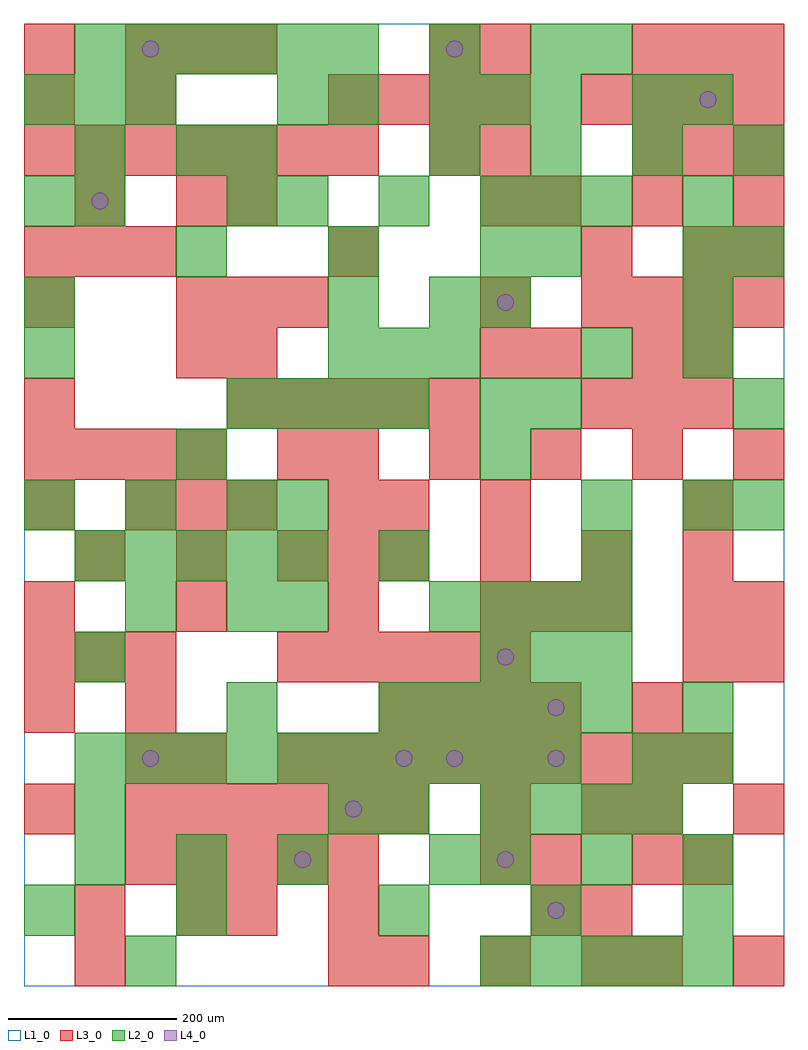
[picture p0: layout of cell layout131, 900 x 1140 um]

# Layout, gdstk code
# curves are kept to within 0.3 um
import gdstk
lib = gdstk.Library(unit=1e-6, precision=1e-09)
def R(c, l, rs):  # rectangles x0, y0, x1, y1
    for r in rs: c.add(gdstk.rectangle(r[:2], r[2:], *l))
def A(c, l, x, y, w, h, nx, ny, dx, dy):  # array of equal rectangles
    R(c, l, [(x+i*dx, y+j*dy, x+i*dx+w, y+j*dy+h) for i in range(nx) for j in range(ny)])
def P(c, l, *ps):  # polygons
    for p in ps: c.add(gdstk.Polygon(p, *l))
L1_0 = (1, 0)
L2_0 = (2, 0)
L3_0 = (3, 0)
L4_0 = (4, 0)

layout131 = lib.new_cell('layout131')
R(layout131, L1_0, [(0,0,900,1140)])
A(layout131, L2_0, 540, 0, 60, 60, 5, 1, 60, 0)
A(layout131, L2_0, 420, 60, 60, 60, 3, 1, 180, 0)
A(layout131, L2_0, 60, 120, 60, 60, 3, 1, 120, 0)
A(layout131, L2_0, 540, 120, 60, 60, 3, 1, 120, 0)
A(layout131, L2_0, 540, 180, 60, 60, 4, 1, 60, 0)
A(layout131, L2_0, 60, 240, 60, 60, 10, 1, 60, 0)
A(layout131, L2_0, 420, 300, 60, 60, 5, 1, 60, 0)
A(layout131, L2_0, 540, 360, 60, 60, 3, 1, 60, 0)
A(layout131, L2_0, 480, 420, 60, 60, 4, 1, 60, 0)
A(layout131, L2_0, 60, 480, 60, 60, 5, 1, 60, 0)
A(layout131, L2_0, 0, 540, 60, 60, 3, 1, 120, 0)
A(layout131, L2_0, 660, 540, 60, 60, 1, 4, 0, 180)
A(layout131, L2_0, 240, 660, 60, 60, 4, 1, 60, 0)
A(layout131, L2_0, 360, 720, 60, 60, 3, 1, 60, 0)
A(layout131, L2_0, 780, 720, 60, 60, 1, 4, 0, 60)
A(layout131, L2_0, 180, 840, 60, 60, 3, 1, 180, 0)
A(layout131, L2_0, 300, 900, 60, 60, 3, 1, 120, 0)
A(layout131, L2_0, 480, 960, 60, 60, 4, 1, 120, 0)
A(layout131, L2_0, 0, 1020, 60, 60, 3, 1, 60, 0)
A(layout131, L2_0, 480, 1020, 60, 60, 3, 1, 60, 0)
A(layout131, L2_0, 60, 1080, 60, 60, 6, 1, 60, 0)
R(layout131, L2_0, [(120,0,180,60), (0,60,60,120), (180,60,240,120), (480,120,540,180), (60,180,120,240), (360,180,420,240), (420,180,480,240), (720,240,780,300), (780,240,840,300), (240,300,300,360), (780,300,840,360), (60,360,120,420), (120,420,180,480), (240,420,300,480), (300,420,360,480), (420,480,480,540), (660,480,720,540), (300,540,360,600), (780,540,840,600), (840,540,900,600), (180,600,240,660), (540,600,600,660), (540,660,600,720), (600,660,660,720), (840,660,900,720), (0,720,60,780), (0,780,60,840), (360,780,420,840), (480,780,540,840), (540,780,600,840), (600,840,660,900), (840,840,900,900), (0,900,60,960), (60,900,120,960), (240,900,300,960), (600,900,660,960), (60,960,120,1020), (180,960,240,1020), (240,960,300,1020), (300,1020,360,1080), (360,1020,420,1080), (720,1020,780,1080), (780,1020,840,1080), (480,1080,540,1140), (600,1080,660,1140)])
A(layout131, L3_0, 420, 0, 60, 60, 3, 1, 120, 0)
A(layout131, L3_0, 840, 0, 60, 60, 1, 3, 0, 180)
A(layout131, L3_0, 120, 120, 60, 60, 5, 1, 60, 0)
A(layout131, L3_0, 600, 120, 60, 60, 1, 3, 0, 300)
A(layout131, L3_0, 120, 180, 60, 60, 6, 1, 60, 0)
A(layout131, L3_0, 300, 240, 60, 60, 9, 1, 60, 0)
A(layout131, L3_0, 420, 300, 60, 60, 4, 1, 60, 0)
A(layout131, L3_0, 0, 360, 60, 60, 3, 2, 60, 480)
A(layout131, L3_0, 300, 360, 60, 60, 5, 1, 60, 0)
A(layout131, L3_0, 0, 420, 60, 60, 4, 1, 180, 0)
A(layout131, L3_0, 60, 480, 60, 60, 3, 1, 120, 0)
A(layout131, L3_0, 420, 480, 60, 60, 4, 1, 120, 0)
A(layout131, L3_0, 0, 540, 60, 60, 1, 3, 0, 120)
A(layout131, L3_0, 120, 540, 60, 60, 3, 2, 60, 540)
A(layout131, L3_0, 0, 600, 60, 60, 4, 1, 60, 0)
A(layout131, L3_0, 360, 600, 60, 60, 5, 1, 120, 0)
A(layout131, L3_0, 240, 660, 60, 60, 5, 1, 60, 0)
A(layout131, L3_0, 660, 660, 60, 60, 3, 1, 60, 0)
A(layout131, L3_0, 180, 780, 60, 60, 3, 1, 60, 0)
A(layout131, L3_0, 660, 780, 60, 60, 4, 2, 60, 240)
A(layout131, L3_0, 600, 900, 60, 60, 3, 1, 120, 0)
A(layout131, L3_0, 0, 960, 60, 60, 7, 1, 60, 0)
A(layout131, L3_0, 720, 960, 60, 60, 3, 2, 60, 120)
A(layout131, L3_0, 360, 1020, 60, 60, 4, 1, 60, 0)
R(layout131, L3_0, [(60,0,120,60), (360,0,420,60), (720,0,780,60), (60,60,120,120), (180,60,240,120), (240,60,300,120), (360,60,420,120), (600,60,660,120), (660,60,720,120), (540,120,600,180), (720,120,780,180), (780,120,840,180), (0,180,60,240), (540,180,600,240), (660,180,720,240), (720,180,780,240), (120,240,180,300), (180,240,240,300), (0,300,60,360), (120,300,180,360), (720,300,780,360), (780,360,840,420), (660,420,720,480), (780,420,840,480), (840,420,900,480), (360,480,420,540), (360,540,420,600), (420,540,480,600), (540,540,600,600), (780,540,840,600), (300,600,360,660), (180,720,240,780), (240,720,300,780), (540,720,600,780), (720,720,780,780), (780,720,840,780), (540,780,600,840), (360,840,420,900), (660,840,720,900), (780,840,840,900), (840,840,900,900), (60,900,120,960), (180,900,240,960), (240,900,300,960), (540,900,600,960), (480,960,540,1020), (540,960,600,1020), (0,1020,60,1080), (120,1020,180,1080), (0,1080,60,1140), (480,1080,540,1140), (540,1080,600,1140)])
P(layout131, L4_0, [(100,930),(99.239,933.827),(97.071,937.071),(93.827,939.239),(90,940),(86.173,939.239),(82.929,937.071),(80.761,933.827),(80,930),(80.761,926.173),(82.929,922.929),(86.173,920.761),(90,920),(93.827,920.761),(97.071,922.929),(99.239,926.173)],
  [(160,270),(159.239,273.827),(157.071,277.071),(153.827,279.239),(150,280),(146.173,279.239),(142.929,277.071),(140.761,273.827),(140,270),(140.761,266.173),(142.929,262.929),(146.173,260.761),(150,260),(153.827,260.761),(157.071,262.929),(159.239,266.173)],
  [(160,1110),(159.239,1113.827),(157.071,1117.071),(153.827,1119.239),(150,1120),(146.173,1119.239),(142.929,1117.071),(140.761,1113.827),(140,1110),(140.761,1106.173),(142.929,1102.929),(146.173,1100.761),(150,1100),(153.827,1100.761),(157.071,1102.929),(159.239,1106.173)],
  [(340,150),(339.239,153.827),(337.071,157.071),(333.827,159.239),(330,160),(326.173,159.239),(322.929,157.071),(320.761,153.827),(320,150),(320.761,146.173),(322.929,142.929),(326.173,140.761),(330,140),(333.827,140.761),(337.071,142.929),(339.239,146.173)],
  [(400,210),(399.239,213.827),(397.071,217.071),(393.827,219.239),(390,220),(386.173,219.239),(382.929,217.071),(380.761,213.827),(380,210),(380.761,206.173),(382.929,202.929),(386.173,200.761),(390,200),(393.827,200.761),(397.071,202.929),(399.239,206.173)],
  [(460,270),(459.239,273.827),(457.071,277.071),(453.827,279.239),(450,280),(446.173,279.239),(442.929,277.071),(440.761,273.827),(440,270),(440.761,266.173),(442.929,262.929),(446.173,260.761),(450,260),(453.827,260.761),(457.071,262.929),(459.239,266.173)],
  [(520,270),(519.239,273.827),(517.071,277.071),(513.827,279.239),(510,280),(506.173,279.239),(502.929,277.071),(500.761,273.827),(500,270),(500.761,266.173),(502.929,262.929),(506.173,260.761),(510,260),(513.827,260.761),(517.071,262.929),(519.239,266.173)],
  [(520,1110),(519.239,1113.827),(517.071,1117.071),(513.827,1119.239),(510,1120),(506.173,1119.239),(502.929,1117.071),(500.761,1113.827),(500,1110),(500.761,1106.173),(502.929,1102.929),(506.173,1100.761),(510,1100),(513.827,1100.761),(517.071,1102.929),(519.239,1106.173)],
  [(580,150),(579.239,153.827),(577.071,157.071),(573.827,159.239),(570,160),(566.173,159.239),(562.929,157.071),(560.761,153.827),(560,150),(560.761,146.173),(562.929,142.929),(566.173,140.761),(570,140),(573.827,140.761),(577.071,142.929),(579.239,146.173)],
  [(580,390),(579.239,393.827),(577.071,397.071),(573.827,399.239),(570,400),(566.173,399.239),(562.929,397.071),(560.761,393.827),(560,390),(560.761,386.173),(562.929,382.929),(566.173,380.761),(570,380),(573.827,380.761),(577.071,382.929),(579.239,386.173)],
  [(580,810),(579.239,813.827),(577.071,817.071),(573.827,819.239),(570,820),(566.173,819.239),(562.929,817.071),(560.761,813.827),(560,810),(560.761,806.173),(562.929,802.929),(566.173,800.761),(570,800),(573.827,800.761),(577.071,802.929),(579.239,806.173)],
  [(640,90),(639.239,93.827),(637.071,97.071),(633.827,99.239),(630,100),(626.173,99.239),(622.929,97.071),(620.761,93.827),(620,90),(620.761,86.173),(622.929,82.929),(626.173,80.761),(630,80),(633.827,80.761),(637.071,82.929),(639.239,86.173)],
  [(640,270),(639.239,273.827),(637.071,277.071),(633.827,279.239),(630,280),(626.173,279.239),(622.929,277.071),(620.761,273.827),(620,270),(620.761,266.173),(622.929,262.929),(626.173,260.761),(630,260),(633.827,260.761),(637.071,262.929),(639.239,266.173)],
  [(640,330),(639.239,333.827),(637.071,337.071),(633.827,339.239),(630,340),(626.173,339.239),(622.929,337.071),(620.761,333.827),(620,330),(620.761,326.173),(622.929,322.929),(626.173,320.761),(630,320),(633.827,320.761),(637.071,322.929),(639.239,326.173)],
  [(820,1050),(819.239,1053.827),(817.071,1057.071),(813.827,1059.239),(810,1060),(806.173,1059.239),(802.929,1057.071),(800.761,1053.827),(800,1050),(800.761,1046.173),(802.929,1042.929),(806.173,1040.761),(810,1040),(813.827,1040.761),(817.071,1042.929),(819.239,1046.173)])

lib.write_gds('layout131.gds')
